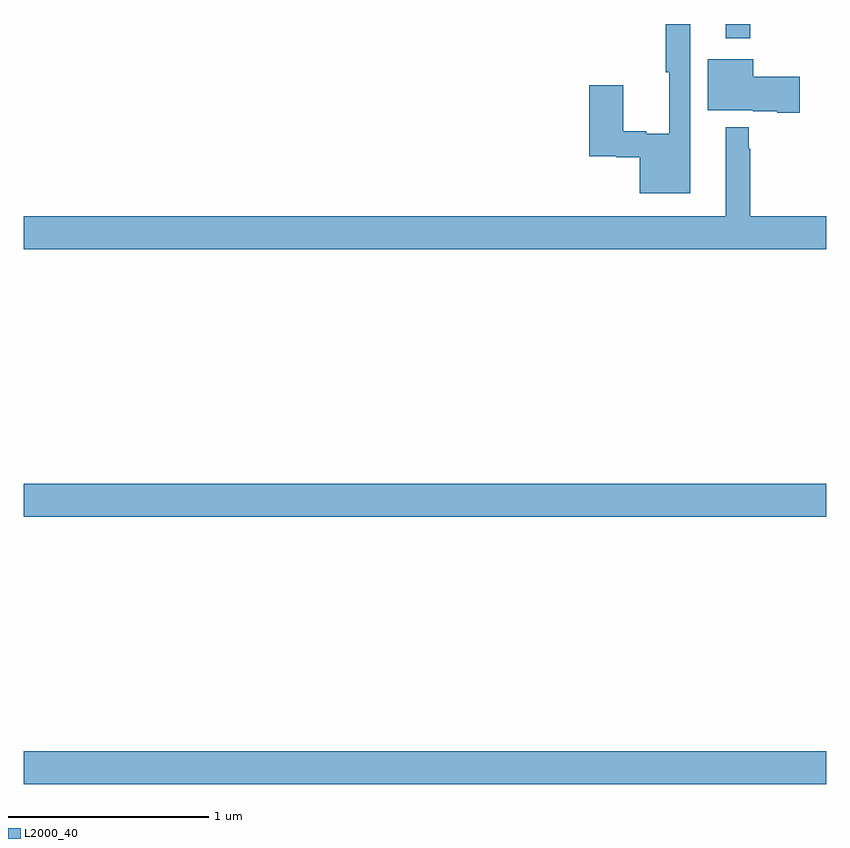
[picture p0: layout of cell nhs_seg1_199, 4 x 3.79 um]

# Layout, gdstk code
import gdstk
lib = gdstk.Library(unit=1e-6, precision=1e-09)
def R(c, l, rs):  # rectangles x0, y0, x1, y1
    for r in rs: c.add(gdstk.rectangle(r[:2], r[2:], *l))
def P(c, l, *ps):  # polygons
    for p in ps: c.add(gdstk.Polygon(p, *l))
L2000_40 = (2000, 40)

nhs_seg1_199 = lib.new_cell('nhs_seg1_199')
R(nhs_seg1_199, L2000_40, [(121,538.412,125,538.576), (121,539.744,125,539.908), (124.499,542.127,124.621,542.199)])
P(nhs_seg1_199, L2000_40, [(124.321,542.199),(124.2,542.199),(124.2,541.959),(124.217,541.959),(124.217,541.651),(124.103,541.651),(124.103,541.664),(123.988,541.664),(123.988,541.894),(123.818,541.894),(123.818,541.541),(123.954,541.541),(123.954,541.534),(124.07,541.534),(124.07,541.355),(124.321,541.355)],
  [(124.867,541.935),(124.636,541.935),(124.636,542.023),(124.409,542.023),(124.409,541.769),(124.632,541.769),(124.632,541.763),(124.754,541.763),(124.754,541.757),(124.867,541.757)],
  [(125,541.24),(124.621,541.24),(124.621,541.577),(124.613,541.577),(124.613,541.684),(124.499,541.684),(124.499,541.24),(121,541.24),(121,541.076),(125,541.076)])

lib.write_gds('nhs_seg1_199.gds')
